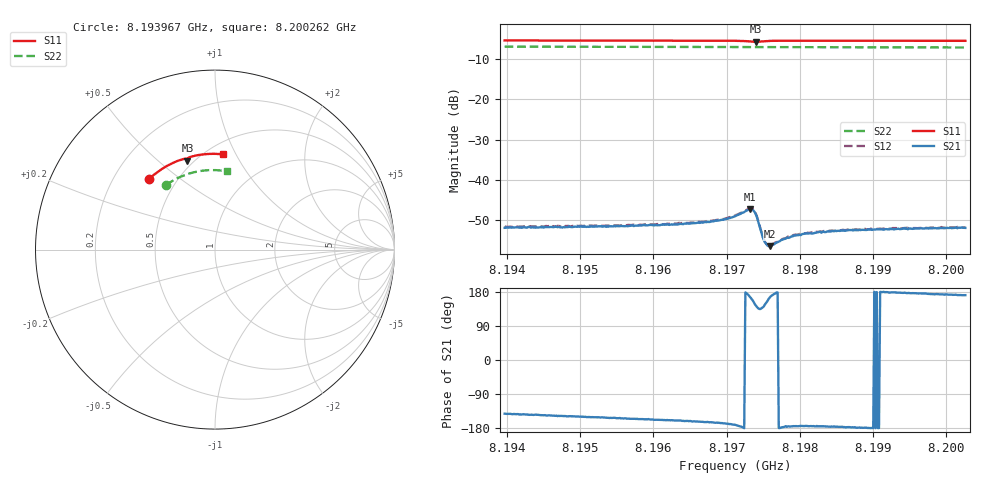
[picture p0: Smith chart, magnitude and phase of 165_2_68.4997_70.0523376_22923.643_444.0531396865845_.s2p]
#  HZ  S  RI  R  50.00
! Rohde & Schwarz Vector Network Analyzer
! Rohde-Schwarz,ZNB20-2Port,1311601062101988,3.16
! Created: UTC 3/20/2024, 5:11:06 PM
! freq[Hz]  re:S11  im:S11  re:S21  im:S21  re:S12  im:S12  re:S22  im:S22
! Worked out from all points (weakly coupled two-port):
!   401 points, 8.193967 GHz to 8.200262 GHz, reference 50 ohm
!   highest |S21| = -47.23 dB at 8.197319 GHz (marker M1); lowest = -56.4 dB at 8.197587 GHz (marker M2)
!   lowest |S11| = -5.7 dB at 8.197398 GHz (marker M3), VSWR 3.15, Z = 23.2 + j31.4 ohm
!   |S11| at or under -10 dB: nowhere
!   |S22| runs from -7.1 to -6.9 dB; largest |S21 - S12| = 0.00027
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8.1939674e9  -0.3657 0.3954  -0.002 -0.00158  -0.00214 -0.00159  -0.2727 0.3595
8.1950217e9  -0.3071 0.4415  -0.00227 -0.00132  -0.00238 -0.00128  -0.2225 0.3907
8.196076e9  -0.2425 0.4791  -0.00255 -0.00104  -0.00264 -0.000943  -0.1686 0.4152
8.1964694e9  -0.2167 0.4907  -0.00274 -0.000963  -0.00281 -0.000824  -0.1479 0.4224
8.1967526e9  -0.1975 0.4981  -0.00289 -0.000831  -0.00301 -0.000768  -0.1324 0.4269
8.1969729e9  -0.1814 0.5032  -0.00318 -0.000723  -0.00325 -0.00059  -0.1203 0.4301
8.1971146e9  -0.17 0.5058  -0.0035 -0.00056  -0.00359 -0.000413  -0.1125 0.4318
8.1973191e9  -0.1517 0.5014  -0.00422 0.00103  -0.00426 0.00117  -0.1012 0.4341
8.1973663e9  -0.1511 0.497  -0.00376 0.00181  -0.00375 0.00208  -0.0987 0.4344
8.1973978e9  -0.1533 0.4954  -0.00305 0.0022  -0.00303 0.00235  -0.0971 0.4347
8.1974293e9  -0.1559 0.4965  -0.00226 0.00213  -0.00222 0.00227  -0.0955 0.435
8.1974765e9  -0.1572 0.501  -0.0016 0.00152  -0.00154 0.00162  -0.0931 0.4355
8.197508e9  -0.1563 0.5041  -0.00141 0.00113  -0.0014 0.00118  -0.0913 0.4359
8.1975394e9  -0.1542 0.5068  -0.00141 0.000798  -0.00138 0.000839  -0.0894 0.4365
8.1975866e9  -0.1507 0.5099  -0.00145 0.000404  -0.00146 0.000524  -0.0869 0.4371
8.1977755e9  -0.1359 0.5168  -0.00183 -8.91e-05  -0.00186 -3.25e-05  -0.0763 0.4386
8.1979014e9  -0.1264 0.5197  -0.00199 -0.000177  -0.00204 -0.00012  -0.0692 0.4396
8.1980587e9  -0.1147 0.5224  -0.00214 -0.00021  -0.00216 -0.000154  -0.0604 0.4406
8.1981689e9  -0.1067 0.5242  -0.00215 -0.000196  -0.00225 -0.000122  -0.0541 0.4412
8.1986724e9  -0.0708 0.5298  -0.00239 -0.000124  -0.00241 -1.02e-05  -0.0255 0.4429
8.1992232e9  -0.0316 0.5331  -0.00243 9.79e-05  -0.00248 0.000154  0.00577 0.4426
8.2002617e9  0.0419 0.5311  -0.00251 0.000392  -0.00252 0.00052  0.0645 0.4359
